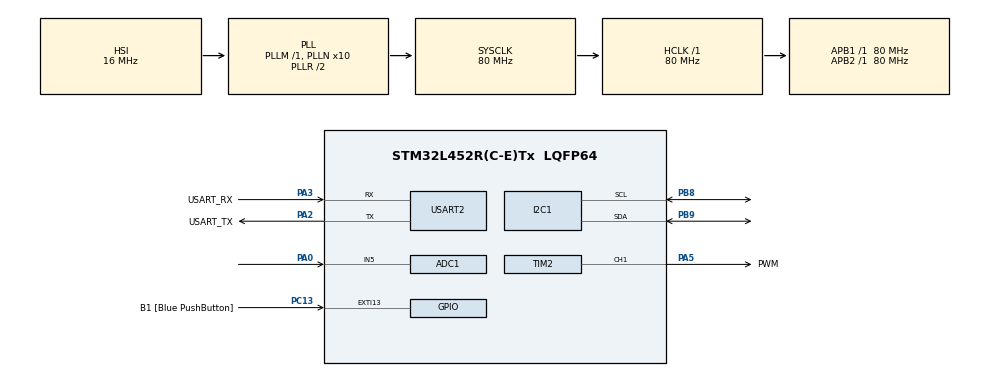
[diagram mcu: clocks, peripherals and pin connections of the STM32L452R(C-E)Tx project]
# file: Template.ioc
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ADC1.Channel-0\#ChannelRegularConversion=ADC_CHANNEL_5
ADC1.ClockPrescaler=ADC_CLOCK_ASYNC_DIV8
ADC1.NbrOfConversionFlag=1
ADC1.OffsetNumber-0\#ChannelRegularConversion=ADC_OFFSET_NONE
ADC1.Rank-0\#ChannelRegularConversion=1
ADC1.SamplingTime-0\#ChannelRegularConversion=ADC_SAMPLETIME_12CYCLES_5
ADC1.master=1
I2C1.Timing=0x10909CEC
Mcu.Family=STM32L4
Mcu.Name=STM32L452R(C-E)Tx
Mcu.Package=LQFP64
Mcu.UserConstants=PRESCALER_VALUE,(800-1);COUNTER_PERIOD_VALUE,(10000-1)
NVIC.PriorityGroup=NVIC_PRIORITYGROUP_4
PA0.Signal=ADCx_IN5
PA13\ (JTMS/SWDIO).GPIO_Label=TMS
PA13\ (JTMS/SWDIO).Mode=Serial_Wire
PA13\ (JTMS/SWDIO).Signal=SYS_JTMS-SWDIO
PA14\ (JTCK/SWCLK).GPIO_Label=TCK
PA14\ (JTCK/SWCLK).Mode=Serial_Wire
PA14\ (JTCK/SWCLK).Signal=SYS_JTCK-SWCLK
PA2.GPIO_Label=USART_TX
PA2.GPIO_Mode=GPIO_MODE_AF_PP
PA2.GPIO_PuPd=GPIO_NOPULL
PA2.GPIO_Speed=GPIO_SPEED_FREQ_VERY_HIGH
PA2.Mode=Asynchronous
PA2.Signal=USART2_TX
PA3.GPIO_Label=USART_RX
PA3.GPIO_Mode=GPIO_MODE_AF_PP
PA3.GPIO_PuPd=GPIO_NOPULL
PA3.GPIO_Speed=GPIO_SPEED_FREQ_VERY_HIGH
PA3.Mode=Asynchronous
PA3.Signal=USART2_RX
PA5.GPIO_Label=PWM
PA5.Signal=S_TIM2_CH1
PB3\ (JTDO/TRACESWO).GPIO_Label=SWO
PB3\ (JTDO/TRACESWO).Signal=SYS_JTDO-SWO
PB8.Mode=I2C
PB8.Signal=I2C1_SCL
PB9.Mode=I2C
PB9.Signal=I2C1_SDA
PC13.GPIO_Label=B1 [Blue PushButton]
PC13.GPIO_ModeDefaultEXTI=GPIO_MODE_IT_FALLING
PC13.GPIO_PuPd=GPIO_NOPULL
PC13.Signal=GPXTI13
PC14-OSC32_IN\ (PC14).Mode=LSE-External-Oscillator
PC14-OSC32_IN\ (PC14).Signal=RCC_OSC32_IN
PC15-OSC32_OUT\ (PC15).Mode=LSE-External-Oscillator
PC15-OSC32_OUT\ (PC15).Signal=RCC_OSC32_OUT
PH0-OSC_IN\ (PH0).Signal=RCC_OSC_IN
PH1-OSC_OUT\ (PH1).Signal=RCC_OSC_OUT
ProjectManager.HeapSize=0x200
ProjectManager.StackSize=0x400
ProjectManager.TargetToolchain=STM32CubeIDE
RCC.ADCFreq_Value=64000000
RCC.AHBFreq_Value=80000000
RCC.APB1Freq_Value=80000000
RCC.APB1TimFreq_Value=80000000
RCC.APB2Freq_Value=80000000
RCC.APB2TimFreq_Value=80000000
RCC.CortexFreq_Value=80000000
RCC.HCLKFreq_Value=80000000
RCC.HSE_VALUE=8000000
RCC.HSI48_VALUE=48000000
RCC.HSI_VALUE=16000000
RCC.MSI_VALUE=4000000
RCC.PLLN=10
RCC.PLLSourceVirtual=RCC_PLLSOURCE_HSI
RCC.PREFETCH_ENABLE=1
RCC.SYSCLKFreq_VALUE=80000000
RCC.SYSCLKSource=RCC_SYSCLKSOURCE_PLLCLK
RCC.USBFreq_Value=64000000
RCC.VCOOutputFreq_Value=160000000
SH.ADCx_IN5.0=ADC1_IN5,IN5-Single-Ended
SH.S_TIM2_CH1.0=TIM2_CH1,PWM Generation1 CH1
TIM2.Channel-PWM\ Generation1\ CH1=TIM_CHANNEL_1
TIM2.Period=COUNTER_PERIOD_VALUE
TIM2.Prescaler=PRESCALER_VALUE
USART2.VirtualMode-Asynchronous=VM_ASYNC
board=NUCLEO-L452RE

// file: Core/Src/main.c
/* USER CODE BEGIN Header */
/**
  ******************************************************************************
  * @file           : main.c
  * @brief          : Main program body
  ******************************************************************************
  * @attention
  *
  * Copyright (c) 2022 STMicroelectronics.
  * All rights reserved.
  *
  * This software is licensed under terms that can be found in the LICENSE file
  * in the root directory of this software component.
  * If no LICENSE file comes with this software, it is provided AS-IS.
  *
  ******************************************************************************
  */

/* FOO */

/* USER CODE END Header */
#include "main.h"
#include "adc.h"
#include "i2c.h"
#include "tim.h"
#include "usart.h"
#include "gpio.h"

/* USER CODE BEGIN Includes */
#include <stdio.h>
#include "gpio_if.h"
#include "adc_if.h"
#include "pwm.h"
#include "lsm6ds3.h"

/* USER CODE END Includes */

/* USER CODE BEGIN PD */
#define TX_TIMEOUT_MS  100   /**< Transmission time timeout over UART */
#define DELAY_MS       100   /**< Delay timeout */
#define GPIO_LD2_ENABLED 0 /**< Use LD2 as GPIO driven LED. It needs special config in IOC */

/* USER CODE END PD */

void SystemClock_Config(void);

int main(void)
{
  /* USER CODE BEGIN 1 */
#if GPIO_LD2_ENABLED
  t_gpio_pin user_led_pin = {LD4_GPIO_Port, LD4_Pin};
  t_gpio_if user_led;
#endif
  t_gpio_pin user_button_pin = {B1_GPIO_Port, B1_Pin};
  t_gpio_if user_button;
  t_adc_if potentiometer;
  t_pwm pwm;
  uint8_t adc_rate;

  /* USER CODE END 1 */

  /* MCU Configuration--------------------------------------------------------*/

  /* Reset of all peripherals, Initializes the Flash interface and the Systick. */
  HAL_Init();

  /* Configure the system clock */
  SystemClock_Config();

  /* Initialize all configured peripherals */
  MX_GPIO_Init();
  MX_USART2_UART_Init();
  MX_ADC1_Init();
  MX_TIM2_Init();
  MX_I2C1_Init();

  /* Infinite loop */
  /* USER CODE BEGIN WHILE */

  /* Init custom GPIO */
#if GPIO_LD2_ENABLED
  gpio_if_init(&user_led, ACTIVE_HIGH, &user_led_pin, GPIO_IF_CLEAR);
  if (gpio_if_open(&user_led) != GPIO_IF_SUCCESS)
  {
    Error_Handler();
  }
#endif
  gpio_if_init(&user_button, ACTIVE_LOW, &user_button_pin, GPIO_IF_INPUT);
  if (gpio_if_open(&user_button) != GPIO_IF_SUCCESS)
  {
    Error_Handler();
  }

  /* Init custom ADC */
  adc_if_init(&potentiometer, &hadc1);
  if (adc_if_open(&potentiometer) != ADC_IF_SUCCESS)
  {
    Error_Handler();
  }

  /* Init PWM */
  pwm_init(&pwm, &htim2, TIM_CHANNEL_1, COUNTER_PERIOD_VALUE);
  if (pwm_open(&pwm) != PWM_SUCCESS)
  {
    Error_Handler();
  }

  lsm6ds3_init();

  /* Welcome message */
  printf("ELO301 Demo Init\r\n");

  while (1)
  {
#if GPIO_LD2_ENABLED
    /* Blink user LED */
    gpio_if_toggle(&user_led);
#endif
    if (adc_if_get_rate(&potentiometer, &adc_rate) != ADC_IF_SUCCESS)
    {
      Error_Handler();
    }
    pwm_update(&pwm, adc_rate);
    HAL_Delay(DELAY_MS);

    /* Print message */
    printf("Button: %u\r\n", gpio_if_get(&user_button));

    /* Read LSM6DS3 driver */
    if (lsm6ds3_update())
    {
      printf( "LSM6DS3 updated\r\n" );
    }

    /* USER CODE END WHILE */

  }
}

void SystemClock_Config(void)
{
  RCC_OscInitTypeDef RCC_OscInitStruct = {0};
  RCC_ClkInitTypeDef RCC_ClkInitStruct = {0};

  /** Configure the main internal regulator output voltage
  */
  if (HAL_PWREx_ControlVoltageScaling(PWR_REGULATOR_VOLTAGE_SCALE1) != HAL_OK)
  {
    Error_Handler();
  }

  /** Initializes the RCC Oscillators according to the specified parameters
  * in the RCC_OscInitTypeDef structure.
  */
  RCC_OscInitStruct.OscillatorType = RCC_OSCILLATORTYPE_HSI;
  RCC_OscInitStruct.HSIState = RCC_HSI_ON;
  RCC_OscInitStruct.HSICalibrationValue = RCC_HSICALIBRATION_DEFAULT;
  RCC_OscInitStruct.PLL.PLLState = RCC_PLL_ON;
  RCC_OscInitStruct.PLL.PLLSource = RCC_PLLSOURCE_HSI;
  RCC_OscInitStruct.PLL.PLLM = 1;
  RCC_OscInitStruct.PLL.PLLN = 10;
  RCC_OscInitStruct.PLL.PLLP = RCC_PLLP_DIV7;
  RCC_OscInitStruct.PLL.PLLQ = RCC_PLLQ_DIV2;
  RCC_OscInitStruct.PLL.PLLR = RCC_PLLR_DIV2;
  if (HAL_RCC_OscConfig(&RCC_OscInitStruct) != HAL_OK)
  {
    Error_Handler();
  }

  /** Initializes the CPU, AHB and APB buses clocks
  */
  RCC_ClkInitStruct.ClockType = RCC_CLOCKTYPE_HCLK|RCC_CLOCKTYPE_SYSCLK
                              |RCC_CLOCKTYPE_PCLK1|RCC_CLOCKTYPE_PCLK2;
  RCC_ClkInitStruct.SYSCLKSource = RCC_SYSCLKSOURCE_PLLCLK;
  RCC_ClkInitStruct.AHBCLKDivider = RCC_SYSCLK_DIV1;
  RCC_ClkInitStruct.APB1CLKDivider = RCC_HCLK_DIV1;
  RCC_ClkInitStruct.APB2CLKDivider = RCC_HCLK_DIV1;

  if (HAL_RCC_ClockConfig(&RCC_ClkInitStruct, FLASH_LATENCY_4) != HAL_OK)
  {
    Error_Handler();
  }
}

/* USER CODE BEGIN 4 */

/**
 * @brief Function that bridges HAL with printf
 * @param file Not in use
 * @param ptr Pointer to data to be printed out
 * @param len Length of the data to be printed out
 * @return len
 */
int _write(int file, char *ptr, int len)
{
  if (HAL_UART_Transmit(&huart2, (uint8_t *)ptr, len, TX_TIMEOUT_MS) != HAL_OK)
  {
    Error_Handler();
  }

  return len;
}

/* USER CODE END 4 */

void Error_Handler(void)
{
  __disable_irq();
  while (1)
  {
  }
}
